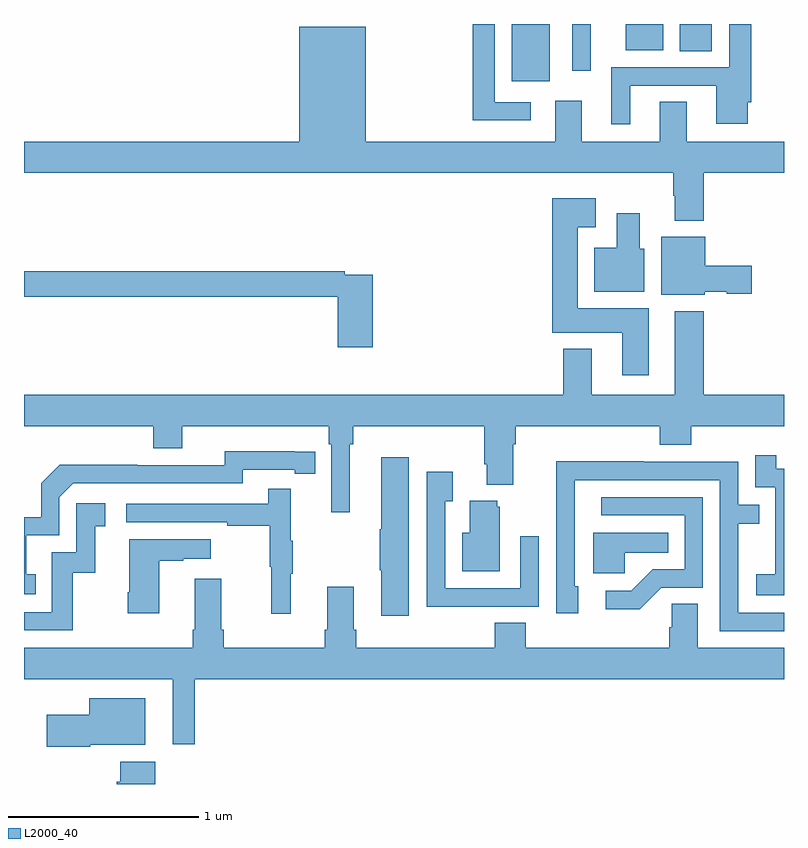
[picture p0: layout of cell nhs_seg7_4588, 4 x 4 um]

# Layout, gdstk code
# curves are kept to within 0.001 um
import gdstk
lib = gdstk.Library(unit=1e-6, precision=1e-09)
def R(c, l, rs):  # rectangles x0, y0, x1, y1
    for r in rs: c.add(gdstk.rectangle(r[:2], r[2:], *l))
def P(c, l, *ps):  # polygons
    for p in ps: c.add(gdstk.Polygon(p, *l))
L2000_40 = (2000, 40)

nhs_seg7_4588 = lib.new_cell('nhs_seg7_4588')
R(nhs_seg7_4588, L2000_40, [(401.567,1067.699,401.767,1068), (401.886,1067.754,401.984,1068), (402.452,1067.857,402.619,1068), (402.167,1067.861,402.364,1068)])
P(nhs_seg7_4588, L2000_40, [(401.668,1067.589),(401.478,1067.589),(401.478,1068),(401.362,1068),(401.362,1067.493),(401.668,1067.493)],
  [(402.19,1067.676),(402.644,1067.676),(402.644,1067.475),(402.808,1067.475),(402.808,1067.587),(402.827,1067.587),(402.827,1068),(402.711,1068),(402.711,1067.772),(402.092,1067.772),(402.092,1067.472),(402.19,1067.472)],
  [(402.578,1067.216),(403,1067.216),(403,1067.38),(402.487,1067.38),(402.487,1067.591),(402.347,1067.591),(402.347,1067.38),(401.935,1067.38),(401.935,1067.596),(401.795,1067.596),(401.795,1067.38),(400.798,1067.38),(400.798,1067.986),(400.448,1067.986),(400.448,1067.38),(399,1067.38),(399,1067.216),(402.418,1067.216),(402.418,1067.096),(402.425,1067.096),(402.425,1066.964),(402.578,1066.964)],
  [(402.289,1066.504),(401.914,1066.504),(401.914,1066.931),(402.01,1066.931),(402.01,1067.083),(401.78,1067.083),(401.78,1066.376),(402.149,1066.376),(402.149,1066.152),(402.289,1066.152)],
  [(402.265,1066.818),(402.241,1066.818),(402.241,1067.005),(402.119,1067.005),(402.119,1066.822),(402.002,1066.822),(402.002,1066.592),(402.265,1066.592)],
  [(402.582,1066.592),(402.699,1066.592),(402.699,1066.58),(402.829,1066.58),(402.829,1066.727),(402.586,1066.727),(402.586,1066.879),(402.353,1066.879),(402.353,1066.574),(402.582,1066.574)],
  [(400.835,1066.68),(400.688,1066.68),(400.688,1066.7),(399,1066.7),(399,1066.564),(400.652,1066.564),(400.652,1066.299),(400.835,1066.299)],
  [(400.714,1065.788),(400.733,1065.788),(400.733,1065.884),(401.423,1065.884),(401.423,1065.682),(401.435,1065.682),(401.435,1065.575),(401.575,1065.575),(401.575,1065.788),(401.588,1065.788),(401.588,1065.884),(402.347,1065.884),(402.347,1065.785),(402.512,1065.785),(402.512,1065.884),(403,1065.884),(403,1066.048),(402.578,1066.048),(402.578,1066.489),(402.425,1066.489),(402.425,1066.048),(401.989,1066.048),(401.989,1066.291),(401.837,1066.291),(401.837,1066.048),(399,1066.048),(399,1065.884),(399.68,1065.884),(399.68,1065.767),(399.832,1065.767),(399.832,1065.884),(400.604,1065.884),(400.604,1065.788),(400.617,1065.788),(400.617,1065.429),(400.714,1065.429)],
  [(399.062,1065.105),(399.013,1065.105),(399.013,1065.309),(399.186,1065.309),(399.186,1065.51),(399.258,1065.582),(400.152,1065.582),(400.152,1065.654),(400.424,1065.654),(400.424,1065.634),(400.532,1065.634),(400.532,1065.75),(400.056,1065.751),(400.056,1065.678),(399.596,1065.678),(399.596,1065.68),(399.188,1065.68),(399.09,1065.582),(399.09,1065.405),(399,1065.405),(399,1065),(399.062,1065)],
  [(403,1065.66),(402.958,1065.66),(402.958,1065.73),(402.849,1065.73),(402.849,1065.561),(402.954,1065.561),(402.954,1065.332),(402.953,1065.332),(402.953,1065.103),(402.855,1065.103),(402.855,1064.993),(403,1064.993)],
  [(401.026,1065.721),(400.88,1065.721),(400.88,1065.341),(400.873,1065.341),(400.873,1065.124),(400.88,1065.124),(400.88,1064.886),(401.026,1064.886)],
  [(403,1064.901),(402.759,1064.901),(402.759,1065.37),(402.869,1065.37),(402.869,1065.471),(402.759,1065.471),(402.759,1065.696),(402.263,1065.696),(402.263,1065.698),(401.8,1065.698),(401.8,1065.391),(401.802,1065.391),(401.802,1064.898),(401.917,1064.898),(401.917,1065.042),(401.898,1065.042),(401.898,1065.364),(401.899,1065.364),(401.899,1065.6),(402.663,1065.6),(402.663,1064.805),(403,1064.805)],
  [(401.393,1064.934),(401.709,1064.934),(401.709,1065.304),(401.613,1065.304),(401.613,1065.03),(401.217,1065.03),(401.217,1065.487),(401.257,1065.487),(401.257,1065.643),(401.121,1065.643),(401.121,1064.933),(401.393,1064.933)],
  [(400.403,1065.107),(400.414,1065.107),(400.414,1065.281),(400.403,1065.281),(400.403,1065.553),(400.285,1065.553),(400.285,1065.474),(399.537,1065.474),(399.537,1065.378),(400.069,1065.378),(400.069,1065.358),(400.293,1065.358),(400.293,1065.144),(400.3,1065.144),(400.3,1064.895),(400.403,1064.895)],
  [(402.354,1065.033),(402.573,1065.033),(402.573,1065.51),(402.039,1065.51),(402.039,1065.414),(402.477,1065.414),(402.477,1065.129),(402.308,1065.129),(402.197,1065.018),(402.063,1065.018),(402.063,1064.921),(402.241,1064.921)],
  [(401.503,1065.459),(401.492,1065.459),(401.492,1065.49),(401.345,1065.49),(401.345,1065.322),(401.306,1065.322),(401.306,1065.119),(401.503,1065.119)],
  [(399.256,1065.111),(399.374,1065.111),(399.374,1065.357),(399.427,1065.357),(399.427,1065.478),(399.276,1065.478),(399.276,1065.219),(399.147,1065.219),(399.147,1064.904),(399,1064.904),(399,1064.808),(399.256,1064.808)],
  [(402.162,1065.218),(402.392,1065.218),(402.392,1065.322),(401.996,1065.322),(401.996,1065.11),(402.162,1065.11)],
  [(399.712,1065.175),(399.839,1065.175),(399.839,1065.185),(399.982,1065.185),(399.982,1065.289),(399.554,1065.289),(399.554,1065.01),(399.547,1065.01),(399.547,1064.898),(399.712,1064.898)],
  [(399.899,1064.552),(403,1064.552),(403,1064.716),(402.547,1064.716),(402.547,1064.948),(402.408,1064.948),(402.408,1064.825),(402.395,1064.825),(402.395,1064.716),(401.642,1064.716),(401.642,1064.849),(401.477,1064.849),(401.477,1064.716),(400.748,1064.716),(400.748,1064.812),(400.735,1064.812),(400.735,1065.037),(400.595,1065.037),(400.595,1064.812),(400.583,1064.812),(400.583,1064.716),(400.052,1064.716),(400.052,1064.812),(400.039,1064.812),(400.039,1065.079),(399.899,1065.079),(399.899,1064.812),(399.887,1064.812),(399.887,1064.716),(399,1064.716),(399,1064.552),(399.782,1064.552),(399.782,1064.208),(399.899,1064.208)],
  [(399.348,1064.207),(399.637,1064.207),(399.637,1064.452),(399.344,1064.452),(399.344,1064.365),(399.12,1064.365),(399.12,1064.195),(399.348,1064.195)],
  [(399.691,1064.116),(399.507,1064.116),(399.507,1064.012),(399.487,1064.012),(399.487,1064),(399.691,1064)])

lib.write_gds('nhs_seg7_4588.gds')
